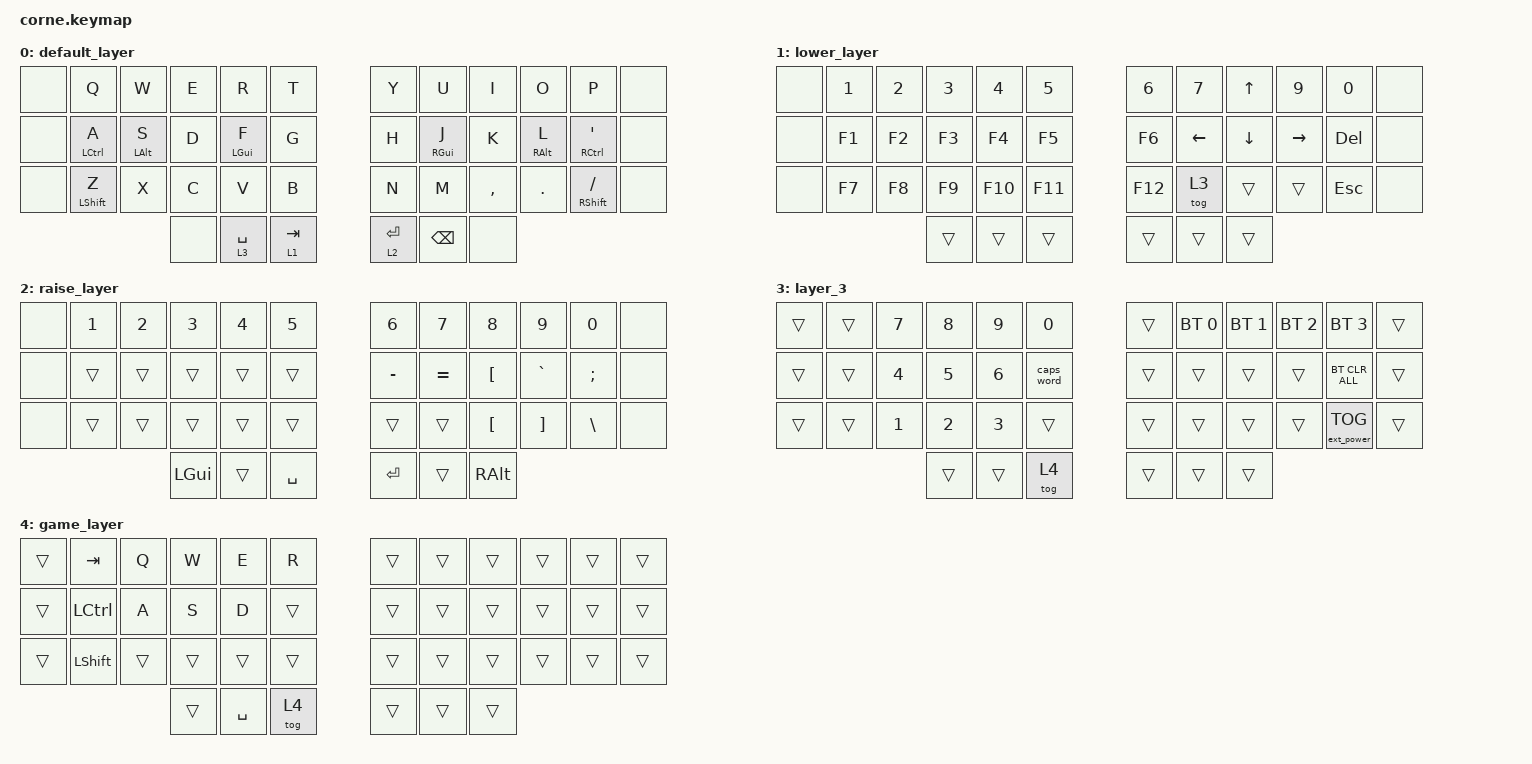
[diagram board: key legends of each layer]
/*
 * Copyright (c) 2020 The ZMK Contributors
 *
 * SPDX-License-Identifier: MIT
 */

#include <behaviors.dtsi>
#include <dt-bindings/zmk/bt.h>
#include <dt-bindings/zmk/ext_power.h>
#include <dt-bindings/zmk/keys.h>
#include <dt-bindings/zmk/keys.h>

/ {
combos {
compatible = "zmk,combos";
combo_tab {
timeout-ms = <50>;
key-positions = <15 20>;
bindings = <&kp TAB>;
    };
    combo_game {
        // TAB-thumb + BACKSPACE-thumb (one per thumb): squeeze together to toggle gaming mode.
        // SPACE stays out of it so it's just space.
        timeout-ms = <125>;
        key-positions = <38 40>;
        bindings = <&tog 4>;
        layers = <0 4>;
    };
  };
};

/ {
    behaviors {
        hm: homerow_mods {
            compatible = "zmk,behavior-hold-tap";
            #binding-cells = <2>;
            tapping-term-ms = <150>;
            quick-tap-ms = <0>;
            flavor = "tap-preferred";
            bindings = <&kp>, <&kp>;
        };
    };

    keymap {
        compatible = "zmk,keymap";

        default_layer {
            // -----------------------------------------------------------------------------------------
            // |  TAB |  Q  |  W  |  E  |  R  |  T  |   |  Y  |  U   |  I  |  O  |  P  | BKSP |
            // | CTRL |  A  |  S  |  D  |  F  |  G  |   |  H  |  J   |  K  |  L  |  ;  |  '   |
            // | SHFT |  Z  |  X  |  C  |  V  |  B  |   |  N  |  M   |  ,  |  .  |  /  | ESC  |
            //                    | GUI | LWR | SPC |   | ENT | RSE  | ALT |

            bindings = <
&none  &kp Q        &kp W       &kp E      &kp R           &kp T        &kp Y      &kp U            &kp I      &kp O            &kp P                           &none
&none  &hm LCTRL A  &hm LALT S  &kp D      &hm LEFT_GUI F  &kp G        &kp H      &hm RIGHT_GUI J  &kp K      &hm RIGHT_ALT L  &hm RIGHT_CONTROL SINGLE_QUOTE  &none
&none  &mt LSHFT Z  &kp X       &kp C      &kp V           &kp B        &kp N      &kp M            &kp COMMA  &kp DOT          &mt RSHFT FSLH                  &none
                                &none      &lt 3 SPACE     &lt 1 TAB    &lt 2 RET  &kp BACKSPACE    &none
            >;
        };

        lower_layer {
            // -----------------------------------------------------------------------------------------
            // |  TAB |  1  |  2  |  3  |  4  |  5  |   |  6  |  7  |  8  |  9  |  0  | BKSP |
            // | BTCLR| BT1 | BT2 | BT3 | BT4 | BT5 |   | LFT | DWN |  UP | RGT |     |      |
            // | SHFT |     |     |     |     |     |   |     |     |     |     |     |      |
            //                    | GUI |     | SPC |   | ENT |     | ALT |

            bindings = <
&none  &kp N1  &kp N2  &kp N3  &kp N4   &kp N5     &kp N6   &kp N7    &kp UP_ARROW  &kp N9     &kp N0      &none
&none  &kp F1  &kp F2  &kp F3  &kp F4   &kp F5     &kp F6   &kp LEFT  &kp DOWN      &kp RIGHT  &kp DELETE  &none
&none  &kp F7  &kp F8  &kp F9  &kp F10  &kp F11    &kp F12  &tog 3    &trans        &trans     &kp ESC       &none
                       &trans  &trans   &trans     &trans   &trans    &trans
            >;
        };

        raise_layer {
            // -----------------------------------------------------------------------------------------
            // |  TAB |  !  |  @  |  #  |  $  |  %  |   |  ^  |  &  |  *  |  (  |  )  | BKSP |
            // | CTRL |     |     |     |     |     |   |  -  |  =  |  [  |  ]  |  \  |  `   |
            // | SHFT |     |     |     |     |     |   |  _  |  +  |  {  |  }  | "|" |  ~   |
            //                    | GUI |     | SPC |   | ENT |     | ALT |

            bindings = <
&none  &kp NUMBER_1  &kp NUMBER_2  &kp NUMBER_3  &kp NUMBER_4  &kp N5       &kp NUMBER_6  &kp N7     &kp N8            &kp N9             &kp N0         &none
&none  &trans        &trans        &trans        &trans        &trans       &kp MINUS     &kp EQUAL  &kp LBKT          &kp GRAVE          &kp SEMICOLON  &none
&none  &trans        &trans        &trans        &trans        &trans       &trans        &trans     &kp LEFT_BRACKET  &kp RIGHT_BRACKET  &kp BACKSLASH  &none
                                   &kp LGUI      &trans        &kp SPACE    &kp RET       &trans     &kp RALT
            >;
        };

        layer_3 {
            bindings = <
&trans  &trans  &kp NUMBER_7  &kp NUMBER_8  &kp NUMBER_9  &kp N0        &trans  &bt BT_SEL 0  &bt BT_SEL 1  &bt BT_SEL 2  &bt BT_SEL 3       &trans
&trans  &trans  &kp NUMBER_4  &kp NUMBER_5  &kp NUMBER_6  &caps_word    &trans  &trans        &trans        &trans        &bt BT_CLR_ALL     &trans
&trans  &trans  &kp NUMBER_1  &kp NUMBER_2  &kp NUMBER_3  &trans        &trans  &trans        &trans        &trans        &ext_power EP_TOG  &trans
                              &trans        &trans        &tog 4        &trans  &trans        &trans  // gaming mode: hold SPACE + TAB to enter; tap TAB to exit
            >;
        };

        game_layer {
            // Gaming mode: like default but shifted for the stagger - outer column empty,
            // TAB Q W E R on top (W on the E-spot), LCTRL A S D on home row, plain LSHIFT on the Z-spot.
            // All plain keys (no hold-taps). SPACE is just space.
            // Enter/Exit: squeeze TAB-thumb + BACKSPACE-thumb together. Old: hold SPACE + TAB; tap TAB to exit.
            // |     | TAB |  Q  |  W  |  E  |  R  |   |     |     |     |     |     |      |
            // |     |CTRL |  A  |  S  |  D  |     |   |     |     |     |     |     |      |
            // |     | SFT |     |     |     |     |   |     |     |     |     |     |      |
            //                    |     | SPC | TGL |   |     |     |     |

            bindings = <
&trans      &kp TAB     &kp Q     &kp W     &kp E       &kp R      &trans   &trans    &trans     &trans      &trans      &trans
&trans      &kp LCTRL   &kp A     &kp S     &kp D       &trans     &trans   &trans    &trans     &trans      &trans      &trans
&trans  &kp LSHIFT  &trans  &trans  &trans     &trans     &trans   &trans    &trans     &trans      &trans      &trans
                                &trans      &kp SPACE     &tog 4      &trans     &trans          &trans
            >;
        };
    };
};
